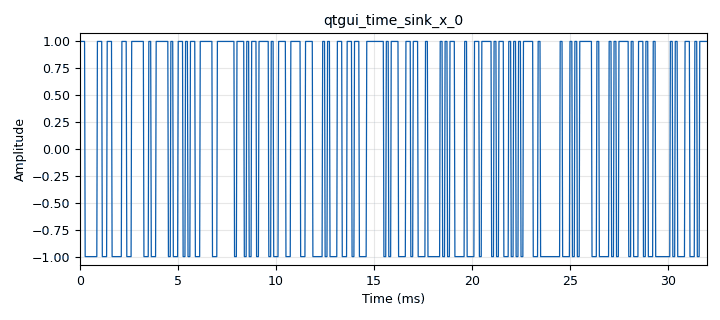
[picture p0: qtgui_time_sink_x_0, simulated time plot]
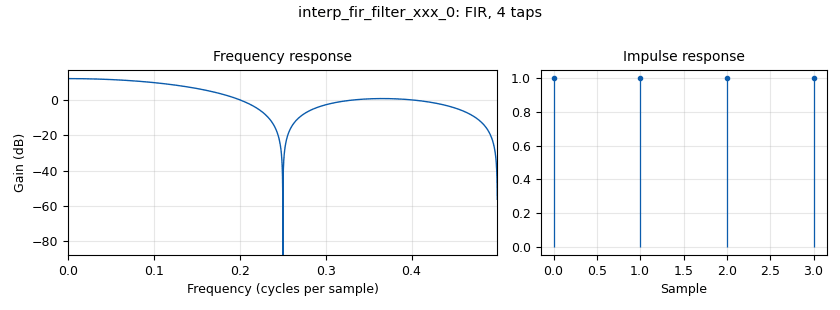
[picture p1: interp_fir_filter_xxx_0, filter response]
<?xml version='1.0' encoding='utf-8'?>
<?grc format='1' created='3.7.13'?>
<flow_graph>
<block>
<key>options</key>
<param><key>id</key><value>top_block</value></param>
<param><key>generate_options</key><value>qt_gui</value></param>
</block>
<block>
<key>variable</key>
<param><key>id</key><value>samp_rate</value></param>
<param><key>value</key><value>32000</value></param>
</block>
<block>
<key>parameter</key>
<param><key>id</key><value>Sps</value></param>
<param><key>label</key><value>Sps</value></param>
<param><key>value</key><value>4</value></param>
</block>
<block>
<key>analog_random_source_x</key>
<param><key>id</key><value>analog_random_source_x_0</value></param>
<param><key>max</key><value>2</value></param>
<param><key>min</key><value>0</value></param>
<param><key>num_samps</key><value>1000000</value></param>
<param><key>type</key><value>int</value></param>
<param><key>repeat</key><value>True</value></param>
</block>
<block>
<key>blocks_add_const_vxx</key>
<param><key>id</key><value>blocks_add_const_vxx_0</value></param>
<param><key>const</key><value>-0.5</value></param>
<param><key>type</key><value>float</value></param>
</block>
<block>
<key>blocks_int_to_float</key>
<param><key>id</key><value>blocks_int_to_float_0</value></param>
<param><key>scale</key><value>1</value></param>
</block>
<block>
<key>blocks_multiply_const_vxx</key>
<param><key>id</key><value>blocks_multiply_const_vxx_0</value></param>
<param><key>const</key><value>2.</value></param>
<param><key>type</key><value>float</value></param>
</block>
<block>
<key>parameter</key>
<param><key>id</key><value>h</value></param>
<param><key>label</key><value>Rta impulso</value></param>
<param><key>value</key><value>[1,1,1,1]</value></param>
</block>
<block>
<key>import</key>
<param><key>id</key><value>import_0</value></param>
<param><key>import</key><value>import math</value></param>
</block>
<block>
<key>interp_fir_filter_xxx</key>
<param><key>id</key><value>interp_fir_filter_xxx_0</value></param>
<param><key>interp</key><value>Sps</value></param>
<param><key>taps</key><value>h</value></param>
<param><key>type</key><value>fff</value></param>
</block>
<block>
<key>qtgui_time_sink_x</key>
<param><key>id</key><value>qtgui_time_sink_x_0</value></param>
<param><key>color1</key><value>"blue"</value></param>
<param><key>label1</key><value></value></param>
<param><key>size</key><value>1024</value></param>
<param><key>srate</key><value>samp_rate</value></param>
<param><key>type</key><value>float</value></param>
</block>
<connection><source_block_id>analog_random_source_x_0</source_block_id><sink_block_id>blocks_int_to_float_0</sink_block_id><source_key>0</source_key><sink_key>0</sink_key></connection>
<connection><source_block_id>blocks_add_const_vxx_0</source_block_id><sink_block_id>blocks_multiply_const_vxx_0</sink_block_id><source_key>0</source_key><sink_key>0</sink_key></connection>
<connection><source_block_id>blocks_int_to_float_0</source_block_id><sink_block_id>blocks_add_const_vxx_0</sink_block_id><source_key>0</source_key><sink_key>0</sink_key></connection>
<connection><source_block_id>blocks_multiply_const_vxx_0</source_block_id><sink_block_id>interp_fir_filter_xxx_0</sink_block_id><source_key>0</source_key><sink_key>0</sink_key></connection>
<connection><source_block_id>interp_fir_filter_xxx_0</source_block_id><sink_block_id>qtgui_time_sink_x_0</sink_block_id><source_key>0</source_key><sink_key>0</sink_key></connection>
</flow_graph>
